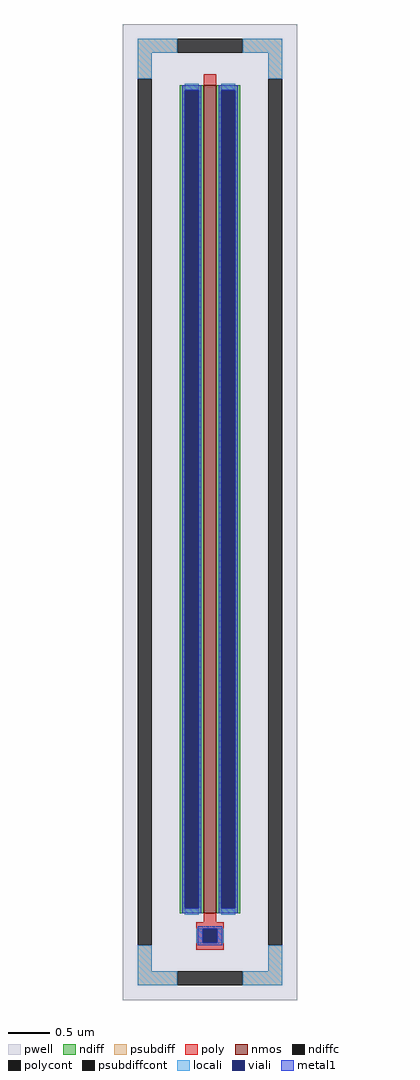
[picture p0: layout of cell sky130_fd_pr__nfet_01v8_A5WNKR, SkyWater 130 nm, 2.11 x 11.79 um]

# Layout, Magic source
magic
tech sky130A
magscale 1 2
<< pwell >>
rect -211 -1179 211 1179
<< nmos >>
rect -15 -969 15 1031
<< ndiff >>
rect -73 1019 -15 1031
rect -73 -957 -61 1019
rect -27 -957 -15 1019
rect -73 -969 -15 -957
rect 15 1019 73 1031
rect 15 -957 27 1019
rect 61 -957 73 1019
rect 15 -969 73 -957
<< ndiffc >>
rect -61 -957 -27 1019
rect 27 -957 61 1019
<< psubdiff >>
rect -175 1109 -79 1143
rect 79 1109 175 1143
rect -175 1047 -141 1109
rect 141 1047 175 1109
rect -175 -1109 -141 -1047
rect 141 -1109 175 -1047
rect -175 -1143 -79 -1109
rect 79 -1143 175 -1109
<< psubdiffcont >>
rect -79 1109 79 1143
rect -175 -1047 -141 1047
rect 141 -1047 175 1047
rect -79 -1143 79 -1109
<< poly >>
rect -15 1031 15 1057
rect -15 -991 15 -969
rect -33 -1007 33 -991
rect -33 -1041 -17 -1007
rect 17 -1041 33 -1007
rect -33 -1057 33 -1041
<< polycont >>
rect -17 -1041 17 -1007
<< locali >>
rect -175 1109 -79 1143
rect 79 1109 175 1143
rect -175 1047 -141 1109
rect 141 1047 175 1109
rect -61 1019 -27 1035
rect -61 -973 -27 -957
rect 27 1019 61 1035
rect 27 -973 61 -957
rect -33 -1041 -17 -1007
rect 17 -1041 33 -1007
rect -175 -1109 -141 -1047
rect 141 -1109 175 -1047
rect -175 -1143 -79 -1109
rect 79 -1143 175 -1109
<< viali >>
rect -61 -957 -27 1019
rect 27 -957 61 1019
rect -17 -1041 17 -1007
<< metal1 >>
rect -67 1019 -21 1031
rect -67 -957 -61 1019
rect -27 -957 -21 1019
rect -67 -969 -21 -957
rect 21 1019 67 1031
rect 21 -957 27 1019
rect 61 -957 67 1019
rect 21 -969 67 -957
rect -29 -1007 29 -1001
rect -29 -1041 -17 -1007
rect 17 -1041 29 -1007
rect -29 -1047 29 -1041
<< properties >>
string FIXED_BBOX -158 -1126 158 1126
string gencell sky130_fd_pr__nfet_01v8
string library sky130
string parameters w 10.0 l 0.15 m 1 nf 1 diffcov 100 polycov 100 guard 1 glc 1 grc 1 gtc 1 gbc 1 tbcov 100 rlcov 100 topc 0 botc 1 poverlap 0 doverlap 1 lmin 0.15 wmin 0.42 compatible {sky130_fd_pr__nfet_01v8 sky130_fd_pr__nfet_01v8_lvt  sky130_fd_bs_flash__special_sonosfet_star  sky130_fd_pr__nfet_g5v0d10v5 sky130_fd_pr__nfet_05v0_nvt  sky130_fd_pr__nfet_03v3_nvt} full_metal 1 viasrc 100 viadrn 100 viagate 100 viagb 0 viagr 0 viagl 0 viagt 0
<< end >>
